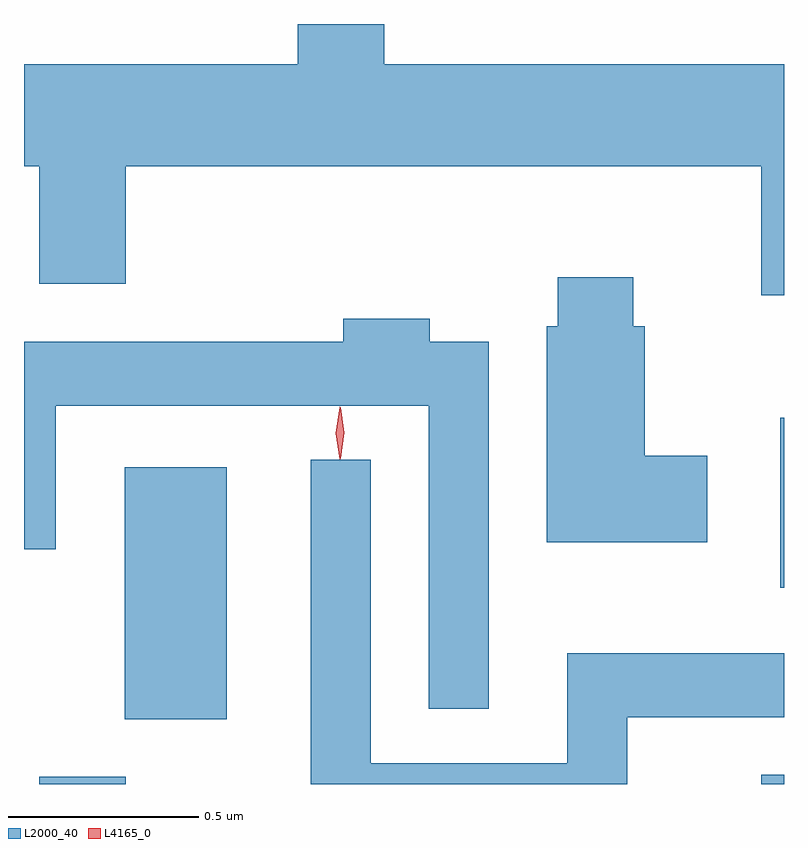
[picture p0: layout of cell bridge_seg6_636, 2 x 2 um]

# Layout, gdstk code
import gdstk
lib = gdstk.Library(unit=1e-6, precision=1e-09)
def R(c, l, rs):  # rectangles x0, y0, x1, y1
    for r in rs: c.add(gdstk.rectangle(r[:2], r[2:], *l))
def P(c, l, *ps):  # polygons
    for p in ps: c.add(gdstk.Polygon(p, *l))
L2000_40 = (2000, 40)
L4165_0 = (4165, 0)

bridge_seg6_636 = lib.new_cell('bridge_seg6_636')
R(bridge_seg6_636, L2000_40, [(521.401,1630.55,521.629,1630.569), (523.301,1630.55,523.361,1630.574), (521.626,1630.721,521.894,1631.384), (523.351,1631.066,523.361,1631.514)])
P(bridge_seg6_636, L2000_40, [(523.361,1632.444),(522.309,1632.444),(522.309,1632.55),(522.081,1632.55),(522.081,1632.444),(521.361,1632.444),(521.361,1632.176),(521.401,1632.176),(521.401,1631.866),(521.629,1631.866),(521.629,1632.176),(523.301,1632.176),(523.301,1631.836),(523.361,1631.836)],
  [(523.159,1631.414),(522.994,1631.414),(522.994,1631.754),(522.964,1631.754),(522.964,1631.884),(522.766,1631.884),(522.766,1631.754),(522.736,1631.754),(522.736,1631.186),(523.159,1631.186)],
  [(522.584,1631.714),(522.429,1631.714),(522.429,1631.774),(522.201,1631.774),(522.201,1631.714),(521.361,1631.714),(521.361,1631.168),(521.444,1631.168),(521.444,1631.546),(522.426,1631.546),(522.426,1630.748),(522.584,1630.748)],
  [(522.949,1630.726),(523.361,1630.726),(523.361,1630.894),(522.791,1630.894),(522.791,1630.604),(522.274,1630.604),(522.274,1631.403),(522.116,1631.403),(522.116,1630.55),(522.949,1630.55)])
P(bridge_seg6_636, L4165_0, [(522.192,1631.404),(522.192,1631.404),(522.182,1631.473),(522.192,1631.542),(522.192,1631.543),(522.193,1631.542),(522.202,1631.473),(522.193,1631.404)],
  [(522.193,1631.407),(522.184,1631.474),(522.193,1631.54),(522.194,1631.54),(522.194,1631.54),(522.204,1631.474),(522.194,1631.407),(522.194,1631.407)])

lib.write_gds('bridge_seg6_636.gds')
